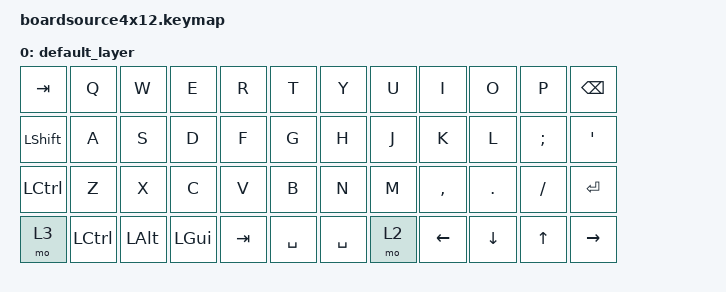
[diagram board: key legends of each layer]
/*
 * Copyright (c) 2021 The ZMK Contributors
 *
 * SPDX-License-Identifier: MIT
 */
 
#include <behaviors.dtsi>
#include <dt-bindings/zmk/keys.h>
#include <dt-bindings/zmk/bt.h>
#include <dt-bindings/zmk/outputs.h>


/ {
    keymap {
        compatible = "zmk,keymap";

        default_layer {
            // ------------------------------------------------------------------------------------------
            // |  ESC  |  Q   |  W   |  E   |  R   |  T   |   Y   |  U    |  I   |  O   |   P   | BSPC  |
            // | SHIFT |  A   |  S   |  D   |  F   |  G   |   H   |  J    |  K   |  L   |   ;   |  '    |
            // | CTRL  |  Z   |  X   |  C   |  V   |  B   |   N   |  M    |  ,   |  .   |   /   | ENTER |
            // |ADJUST | LCTL | LALT | LGUI | TAB | SPACE| SPACE |  RAIS | LARW | DARW | UARW  | RARW  |


            bindings = <
                &kp TAB    &kp Q        &kp W       &kp E    &kp R      &kp T       &kp Y       &kp U   &kp I       &kp O       &kp P       &kp BSPC
                &kp LSHFT  &kp A        &kp S       &kp D    &kp F      &kp G       &kp H       &kp J   &kp K       &kp L       &kp SEMI    &kp SQT
                &kp LCTRL  &kp Z        &kp X       &kp C    &kp V      &kp B       &kp N       &kp M   &kp COMMA   &kp DOT     &kp FSLH    &kp RET
                &mo 3      &kp LCTRL    &kp LALT    &kp LGUI &kp TAB    &kp SPACE   &kp SPACE   &mo 2   &kp LEFT    &kp DOWN    &kp UP      &kp RIGHT 
            >;
        };
    };
};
